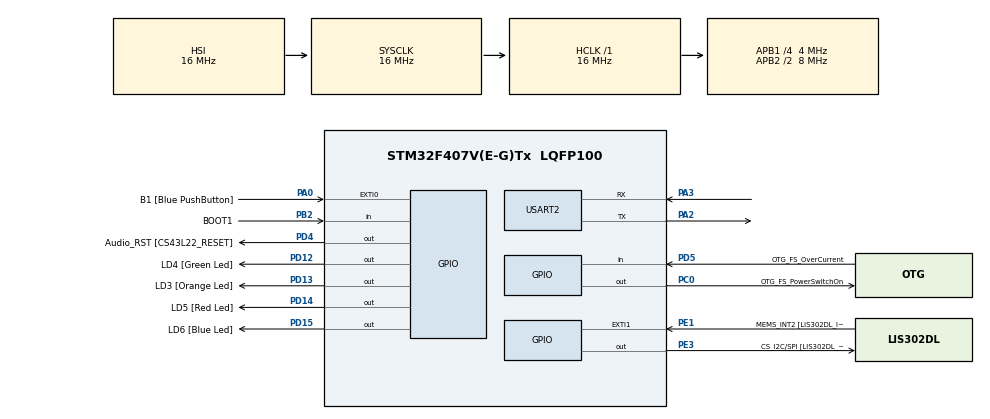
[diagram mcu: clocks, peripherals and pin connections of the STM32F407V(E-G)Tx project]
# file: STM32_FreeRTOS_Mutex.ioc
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FREERTOS.Tasks01=defaultTask,24,128,StartDefaultTask,Default,NULL,Dynamic,NULL,NULL
Mcu.Family=STM32F4
Mcu.Name=STM32F407V(E-G)Tx
Mcu.Package=LQFP100
NVIC.EXTI0_IRQn=true\:6\:0\:true\:false\:true\:true\:true\:true\:true
NVIC.PriorityGroup=NVIC_PRIORITYGROUP_4
NVIC.TIM4_IRQn=true\:0\:0\:false\:false\:true\:false\:false\:true\:true
NVIC.TimeBase=TIM4_IRQn
NVIC.TimeBaseIP=TIM4
PA0-WKUP.GPIO_Label=B1 [Blue PushButton]
PA0-WKUP.GPIO_ModeDefaultEXTI=GPIO_MODE_IT_FALLING
PA0-WKUP.Signal=GPXTI0
PA10.GPIO_Label=OTG_FS_ID
PA10.GPIO_Mode=GPIO_MODE_AF_PP
PA10.GPIO_PuPd=GPIO_NOPULL
PA10.GPIO_Speed=GPIO_SPEED_FREQ_LOW
PA10.Signal=USB_OTG_FS_ID
PA11.GPIO_Label=OTG_FS_DM
PA11.GPIO_Mode=GPIO_MODE_AF_PP
PA11.GPIO_PuPd=GPIO_NOPULL
PA11.GPIO_Speed=GPIO_SPEED_FREQ_LOW
PA11.Signal=USB_OTG_FS_DM
PA12.GPIO_Label=OTG_FS_DP
PA12.GPIO_Mode=GPIO_MODE_AF_PP
PA12.GPIO_PuPd=GPIO_NOPULL
PA12.GPIO_Speed=GPIO_SPEED_FREQ_LOW
PA12.Signal=USB_OTG_FS_DP
PA13.GPIO_Label=SWDIO
PA13.Signal=SYS_JTMS-SWDIO
PA14.GPIO_Label=SWCLK
PA14.Signal=SYS_JTCK-SWCLK
PA2.Mode=Asynchronous
PA2.Signal=USART2_TX
PA3.Mode=Asynchronous
PA3.Signal=USART2_RX
PA4.GPIO_Label=I2S3_WS [CS43L22_LRCK]
PA4.GPIO_Mode=GPIO_MODE_AF_PP
PA4.GPIO_PuPd=GPIO_NOPULL
PA4.GPIO_Speed=GPIO_SPEED_FREQ_LOW
PA4.Signal=I2S3_WS
PA5.GPIO_Label=SPI1_SCK [LIS302DL_SCL/SPC]
PA5.GPIO_Mode=GPIO_MODE_AF_PP
PA5.GPIO_PuPd=GPIO_NOPULL
PA5.GPIO_Speed=GPIO_SPEED_FREQ_LOW
PA5.Signal=SPI1_SCK
PA6.GPIO_Label=SPI1_MISO [LIS302DL_SDO]
PA6.GPIO_Mode=GPIO_MODE_AF_PP
PA6.GPIO_PuPd=GPIO_NOPULL
PA6.GPIO_Speed=GPIO_SPEED_FREQ_LOW
PA6.Signal=SPI1_MISO
PA7.GPIO_Label=SPI1_MOSI [LIS302DL_SDA/SDI/SDO]
PA7.GPIO_Mode=GPIO_MODE_AF_PP
PA7.GPIO_PuPd=GPIO_NOPULL
PA7.GPIO_Speed=GPIO_SPEED_FREQ_LOW
PA7.Signal=SPI1_MOSI
PA9.GPIO_Label=VBUS_FS
PA9.GPIO_Mode=GPIO_MODE_INPUT
PA9.GPIO_PuPd=GPIO_NOPULL
PA9.Signal=USB_OTG_FS_VBUS
PB10.GPIO_Label=CLK_IN [MP45DT02_CLK]
PB10.GPIO_Mode=GPIO_MODE_AF_PP
PB10.GPIO_PuPd=GPIO_NOPULL
PB10.GPIO_Speed=GPIO_SPEED_FREQ_LOW
PB10.Signal=I2S2_CK
PB2.GPIO_Label=BOOT1
PB2.GPIO_Mode=GPIO_MODE_INPUT
PB2.GPIO_PuPd=GPIO_NOPULL
PB2.Signal=GPIO_Input
PB3.GPIO_Label=SWO
PB3.Signal=SYS_JTDO-SWO
PB6.GPIO_Label=Audio_SCL [CS43L22_SCL]
PB6.GPIO_Mode=GPIO_MODE_AF_OD
PB6.GPIO_PuPd=GPIO_NOPULL
PB6.GPIO_Speed=GPIO_SPEED_FREQ_LOW
PB6.Signal=I2C1_SCL
PB9.GPIO_Label=Audio_SDA [CS43L22_SDA]
PB9.GPIO_Mode=GPIO_MODE_AF_OD
PB9.GPIO_PuPd=GPIO_NOPULL
PB9.GPIO_Speed=GPIO_SPEED_FREQ_LOW
PB9.Signal=I2C1_SDA
PC0.GPIO_Label=OTG_FS_PowerSwitchOn
PC0.GPIO_PuPd=GPIO_NOPULL
PC0.GPIO_Speed=GPIO_SPEED_FREQ_LOW
PC0.PinState=GPIO_PIN_SET
PC0.Signal=GPIO_Output
PC10.GPIO_Label=I2S3_SCK [CS43L22_SCLK]
PC10.GPIO_Mode=GPIO_MODE_AF_PP
PC10.GPIO_PuPd=GPIO_NOPULL
PC10.GPIO_Speed=GPIO_SPEED_FREQ_LOW
PC10.Signal=I2S3_CK
PC12.GPIO_Label=I2S3_SD [CS43L22_SDIN]
PC12.GPIO_Mode=GPIO_MODE_AF_PP
PC12.GPIO_PuPd=GPIO_NOPULL
PC12.GPIO_Speed=GPIO_SPEED_FREQ_LOW
PC12.Signal=I2S3_SD
PC14-OSC32_IN.GPIO_Label=PC14-OSC32_IN
PC14-OSC32_IN.Signal=RCC_OSC32_IN
PC15-OSC32_OUT.GPIO_Label=PC15-OSC32_OUT
PC15-OSC32_OUT.Signal=RCC_OSC32_OUT
PC3.GPIO_Label=PDM_OUT [MP45DT02_DOUT]
PC3.GPIO_Mode=GPIO_MODE_AF_PP
PC3.GPIO_PuPd=GPIO_NOPULL
PC3.GPIO_Speed=GPIO_SPEED_FREQ_LOW
PC3.Signal=I2S2_SD
PC7.GPIO_Label=I2S3_MCK [CS43L22_MCLK]
PC7.GPIO_Mode=GPIO_MODE_AF_PP
PC7.GPIO_PuPd=GPIO_NOPULL
PC7.GPIO_Speed=GPIO_SPEED_FREQ_LOW
PC7.Signal=I2S3_MCK
PD12.GPIO_Label=LD4 [Green Led]
PD12.GPIO_PuPd=GPIO_NOPULL
PD12.GPIO_Speed=GPIO_SPEED_FREQ_LOW
PD12.Signal=GPIO_Output
PD13.GPIO_Label=LD3 [Orange Led]
PD13.GPIO_PuPd=GPIO_NOPULL
PD13.GPIO_Speed=GPIO_SPEED_FREQ_LOW
PD13.Signal=GPIO_Output
PD14.GPIO_Label=LD5 [Red Led]
PD14.GPIO_PuPd=GPIO_NOPULL
PD14.GPIO_Speed=GPIO_SPEED_FREQ_LOW
PD14.Signal=GPIO_Output
PD15.GPIO_Label=LD6 [Blue Led]
PD15.GPIO_PuPd=GPIO_NOPULL
PD15.GPIO_Speed=GPIO_SPEED_FREQ_LOW
PD15.Signal=GPIO_Output
PD4.GPIO_Label=Audio_RST [CS43L22_RESET]
PD4.GPIO_PuPd=GPIO_NOPULL
PD4.GPIO_Speed=GPIO_SPEED_FREQ_LOW
PD4.Signal=GPIO_Output
PD5.GPIO_Label=OTG_FS_OverCurrent
PD5.GPIO_Mode=GPIO_MODE_INPUT
PD5.GPIO_PuPd=GPIO_NOPULL
PD5.Signal=GPIO_Input
PE1.GPIO_Label=MEMS_INT2 [LIS302DL_INT2]
PE1.GPIO_ModeDefaultEXTI=GPIO_MODE_EVT_RISING
PE1.GPIO_PuPd=GPIO_NOPULL
PE1.Signal=GPXTI1
PE3.GPIO_Label=CS_I2C/SPI [LIS302DL_CS_I2C/SPI]
PE3.GPIO_PuPd=GPIO_NOPULL
PE3.GPIO_Speed=GPIO_SPEED_FREQ_LOW
PE3.Signal=GPIO_Output
PH0-OSC_IN.GPIO_Label=PH0-OSC_IN
PH0-OSC_IN.Signal=RCC_OSC_IN
PH1-OSC_OUT.GPIO_Label=PH1-OSC_OUT
PH1-OSC_OUT.Signal=RCC_OSC_OUT
ProjectManager.HeapSize=0x200
ProjectManager.StackSize=0x400
ProjectManager.TargetToolchain=STM32CubeIDE
RCC.48MHZClocksFreq_Value=48000000
RCC.AHBFreq_Value=16000000
RCC.APB1CLKDivider=RCC_HCLK_DIV4
RCC.APB1Freq_Value=4000000
RCC.APB1TimFreq_Value=8000000
RCC.APB2CLKDivider=RCC_HCLK_DIV2
RCC.APB2Freq_Value=8000000
RCC.APB2TimFreq_Value=16000000
RCC.CortexFreq_Value=16000000
RCC.HCLKFreq_Value=16000000
RCC.HSE_VALUE=8000000
RCC.HSI_VALUE=16000000
RCC.LSE_VALUE=32768
RCC.PLLM=8
RCC.PLLN=168
RCC.PLLQ=7
RCC.SYSCLKFreq_VALUE=16000000
RCC.VCOOutputFreq_Value=336000000
USART2.VirtualMode=VM_ASYNC
VP_FREERTOS_VS_CMSIS_V2.Mode=CMSIS_V2
VP_SYS_VS_tim4.Mode=TIM4
board=STM32F407G-DISC1

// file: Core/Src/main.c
/* USER CODE BEGIN Header */
/**
  ******************************************************************************
  * @file           : main.c
  * @brief          : Main program body
  ******************************************************************************
  * @attention
  *
  * Copyright (c) 2025 STMicroelectronics.
  * All rights reserved.
  *
  * This software is licensed under terms that can be found in the LICENSE file
  * in the root directory of this software component.
  * If no LICENSE file comes with this software, it is provided AS-IS.
  *
  ******************************************************************************
  */
/* USER CODE END Header */
#include "main.h"
#include "cmsis_os.h"

/* USER CODE BEGIN Includes */
#include <stdio.h>
#include <stdint.h>
#include <FreeRTOS.h>
#include <task.h>
#include <string.h>
#include <stdlib.h>
#include <semphr.h>

/* USER CODE END Includes */

UART_HandleTypeDef huart2;

/* Definitions for defaultTask */
osThreadId_t defaultTaskHandle;
const osThreadAttr_t defaultTask_attributes = {
  .name = "defaultTask",
  .stack_size = 128 * 4,
  .priority = (osPriority_t) osPriorityNormal,
};
/* USER CODE BEGIN PV */
#define DWT_CTRL	(*(volatile uint32_t*)0xE0001000)
#define mainMAX_MSG_LEN		(80)

#define USE_MUTEX			0

/* USER CODE END PV */

void SystemClock_Config(void);
static void MX_GPIO_Init(void);
static void MX_USART2_UART_Init(void);
void StartDefaultTask(void *argument);

/* USER CODE BEGIN 0 */

char usr_msg[250] ={0};

TaskHandle_t xTaskHandle1=NULL;
TaskHandle_t xTaskHandle2=NULL;

//function prototypes
void printmsg(char *msg);

// Task to be created
static void prvPrintTask(void *pvParameters);

static void prvNewPrintString (const portCHAR *pcString);

#ifdef USE_MUTEX

xSemaphoreHandle xMutex;

#endif

/* USER CODE END 0 */

int main(void)
{

  /* USER CODE BEGIN 1 */

	BaseType_t status;

  /* USER CODE END 1 */

  /* MCU Configuration--------------------------------------------------------*/

  /* Reset of all peripherals, Initializes the Flash interface and the Systick. */
  HAL_Init();

  /* Configure the system clock */
  SystemClock_Config();

  /* USER CODE BEGIN SysInit */

  SystemCoreClockUpdate();

  /* USER CODE END SysInit */

  /* Initialize all configured peripherals */
  MX_GPIO_Init();
  MX_USART2_UART_Init();
  /* USER CODE BEGIN 2 */

//  SEGGER_UART_init(250000);

  //Enable the CYCCNT counter
  DWT_CTRL |= (1 << 0);

  sprintf(usr_msg,"Demo of mutual exclusion using Mutex APIs /r/n");
  printmsg(usr_msg);

#ifdef USE_MUTEX
  xMutex = xSemaphoreCreateMutex();
#endif

  srand(567);

#ifdef USE_MUTEX
  if(xMutex != NULL)
  {
#endif

	  status = xTaskCreate(prvPrintTask,"Print 1",240,"Task 1 ********************************\r\n",1,NULL);

	  configASSERT(status = pdPASS);

	  status = xTaskCreate(prvPrintTask,"Print 2",240,"Task 2 -------------------------------\r\n",3,NULL);

	  configASSERT(status = pdPASS);

	  // start the freeRTOS scheduler
	  vTaskStartScheduler();
#ifdef USE_MUTEX
  }
#endif

  /* USER CODE END 2 */

  /* Init scheduler */
  osKernelInitialize();

  /* Create the thread(s) */
  /* creation of defaultTask */
  defaultTaskHandle = osThreadNew(StartDefaultTask, NULL, &defaultTask_attributes);

  /* Start scheduler */
  osKernelStart();

  /* We should never get here as control is now taken by the scheduler */

  /* Infinite loop */
  while (1)
  {

  }
}

void SystemClock_Config(void)
{
  RCC_OscInitTypeDef RCC_OscInitStruct = {0};
  RCC_ClkInitTypeDef RCC_ClkInitStruct = {0};

  /** Configure the main internal regulator output voltage
  */
  __HAL_RCC_PWR_CLK_ENABLE();
  __HAL_PWR_VOLTAGESCALING_CONFIG(PWR_REGULATOR_VOLTAGE_SCALE1);

  /** Initializes the RCC Oscillators according to the specified parameters
  * in the RCC_OscInitTypeDef structure.
  */
  RCC_OscInitStruct.OscillatorType = RCC_OSCILLATORTYPE_HSI;
  RCC_OscInitStruct.HSIState = RCC_HSI_ON;
  RCC_OscInitStruct.HSICalibrationValue = RCC_HSICALIBRATION_DEFAULT;
  RCC_OscInitStruct.PLL.PLLState = RCC_PLL_NONE;
  if (HAL_RCC_OscConfig(&RCC_OscInitStruct) != HAL_OK)
  {
    Error_Handler();
  }

  /** Initializes the CPU, AHB and APB buses clocks
  */
  RCC_ClkInitStruct.ClockType = RCC_CLOCKTYPE_HCLK|RCC_CLOCKTYPE_SYSCLK
                              |RCC_CLOCKTYPE_PCLK1|RCC_CLOCKTYPE_PCLK2;
  RCC_ClkInitStruct.SYSCLKSource = RCC_SYSCLKSOURCE_HSI;
  RCC_ClkInitStruct.AHBCLKDivider = RCC_SYSCLK_DIV1;
  RCC_ClkInitStruct.APB1CLKDivider = RCC_HCLK_DIV4;
  RCC_ClkInitStruct.APB2CLKDivider = RCC_HCLK_DIV2;

  if (HAL_RCC_ClockConfig(&RCC_ClkInitStruct, FLASH_LATENCY_0) != HAL_OK)
  {
    Error_Handler();
  }
}

static void MX_USART2_UART_Init(void)
{

  huart2.Instance = USART2;
  huart2.Init.BaudRate = 115200;
  huart2.Init.WordLength = UART_WORDLENGTH_8B;
  huart2.Init.StopBits = UART_STOPBITS_1;
  huart2.Init.Parity = UART_PARITY_NONE;
  huart2.Init.Mode = UART_MODE_TX_RX;
  huart2.Init.HwFlowCtl = UART_HWCONTROL_NONE;
  huart2.Init.OverSampling = UART_OVERSAMPLING_16;
  if (HAL_UART_Init(&huart2) != HAL_OK)
  {
    Error_Handler();
  }

}

static void MX_GPIO_Init(void)
{
  GPIO_InitTypeDef GPIO_InitStruct = {0};

  /* GPIO Ports Clock Enable */
  __HAL_RCC_GPIOE_CLK_ENABLE();
  __HAL_RCC_GPIOC_CLK_ENABLE();
  __HAL_RCC_GPIOH_CLK_ENABLE();
  __HAL_RCC_GPIOA_CLK_ENABLE();
  __HAL_RCC_GPIOB_CLK_ENABLE();
  __HAL_RCC_GPIOD_CLK_ENABLE();

  /*Configure GPIO pin Output Level */
  HAL_GPIO_WritePin(CS_I2C_SPI_GPIO_Port, CS_I2C_SPI_Pin, GPIO_PIN_RESET);

  /*Configure GPIO pin Output Level */
  HAL_GPIO_WritePin(OTG_FS_PowerSwitchOn_GPIO_Port, OTG_FS_PowerSwitchOn_Pin, GPIO_PIN_SET);

  /*Configure GPIO pin Output Level */
  HAL_GPIO_WritePin(GPIOD, LD4_Pin|LD3_Pin|LD5_Pin|LD6_Pin
                          |Audio_RST_Pin, GPIO_PIN_RESET);

  /*Configure GPIO pin : CS_I2C_SPI_Pin */
  GPIO_InitStruct.Pin = CS_I2C_SPI_Pin;
  GPIO_InitStruct.Mode = GPIO_MODE_OUTPUT_PP;
  GPIO_InitStruct.Pull = GPIO_NOPULL;
  GPIO_InitStruct.Speed = GPIO_SPEED_FREQ_LOW;
  HAL_GPIO_Init(CS_I2C_SPI_GPIO_Port, &GPIO_InitStruct);

  /*Configure GPIO pin : OTG_FS_PowerSwitchOn_Pin */
  GPIO_InitStruct.Pin = OTG_FS_PowerSwitchOn_Pin;
  GPIO_InitStruct.Mode = GPIO_MODE_OUTPUT_PP;
  GPIO_InitStruct.Pull = GPIO_NOPULL;
  GPIO_InitStruct.Speed = GPIO_SPEED_FREQ_LOW;
  HAL_GPIO_Init(OTG_FS_PowerSwitchOn_GPIO_Port, &GPIO_InitStruct);

  /*Configure GPIO pin : PDM_OUT_Pin */
  GPIO_InitStruct.Pin = PDM_OUT_Pin;
  GPIO_InitStruct.Mode = GPIO_MODE_AF_PP;
  GPIO_InitStruct.Pull = GPIO_NOPULL;
  GPIO_InitStruct.Speed = GPIO_SPEED_FREQ_LOW;
  GPIO_InitStruct.Alternate = GPIO_AF5_SPI2;
  HAL_GPIO_Init(PDM_OUT_GPIO_Port, &GPIO_InitStruct);

  /*Configure GPIO pin : B1_Pin */
  GPIO_InitStruct.Pin = B1_Pin;
  GPIO_InitStruct.Mode = GPIO_MODE_IT_FALLING;
  GPIO_InitStruct.Pull = GPIO_NOPULL;
  HAL_GPIO_Init(B1_GPIO_Port, &GPIO_InitStruct);

  /*Configure GPIO pin : I2S3_WS_Pin */
  GPIO_InitStruct.Pin = I2S3_WS_Pin;
  GPIO_InitStruct.Mode = GPIO_MODE_AF_PP;
  GPIO_InitStruct.Pull = GPIO_NOPULL;
  GPIO_InitStruct.Speed = GPIO_SPEED_FREQ_LOW;
  GPIO_InitStruct.Alternate = GPIO_AF6_SPI3;
  HAL_GPIO_Init(I2S3_WS_GPIO_Port, &GPIO_InitStruct);

  /*Configure GPIO pins : SPI1_SCK_Pin SPI1_MISO_Pin SPI1_MOSI_Pin */
  GPIO_InitStruct.Pin = SPI1_SCK_Pin|SPI1_MISO_Pin|SPI1_MOSI_Pin;
  GPIO_InitStruct.Mode = GPIO_MODE_AF_PP;
  GPIO_InitStruct.Pull = GPIO_NOPULL;
  GPIO_InitStruct.Speed = GPIO_SPEED_FREQ_LOW;
  GPIO_InitStruct.Alternate = GPIO_AF5_SPI1;
  HAL_GPIO_Init(GPIOA, &GPIO_InitStruct);

  /*Configure GPIO pin : BOOT1_Pin */
  GPIO_InitStruct.Pin = BOOT1_Pin;
  GPIO_InitStruct.Mode = GPIO_MODE_INPUT;
  GPIO_InitStruct.Pull = GPIO_NOPULL;
  HAL_GPIO_Init(BOOT1_GPIO_Port, &GPIO_InitStruct);

  /*Configure GPIO pin : CLK_IN_Pin */
  GPIO_InitStruct.Pin = CLK_IN_Pin;
  GPIO_InitStruct.Mode = GPIO_MODE_AF_PP;
  GPIO_InitStruct.Pull = GPIO_NOPULL;
  GPIO_InitStruct.Speed = GPIO_SPEED_FREQ_LOW;
  GPIO_InitStruct.Alternate = GPIO_AF5_SPI2;
  HAL_GPIO_Init(CLK_IN_GPIO_Port, &GPIO_InitStruct);

  /*Configure GPIO pins : LD4_Pin LD3_Pin LD5_Pin LD6_Pin
                           Audio_RST_Pin */
  GPIO_InitStruct.Pin = LD4_Pin|LD3_Pin|LD5_Pin|LD6_Pin
                          |Audio_RST_Pin;
  GPIO_InitStruct.Mode = GPIO_MODE_OUTPUT_PP;
  GPIO_InitStruct.Pull = GPIO_NOPULL;
  GPIO_InitStruct.Speed = GPIO_SPEED_FREQ_LOW;
  HAL_GPIO_Init(GPIOD, &GPIO_InitStruct);

  /*Configure GPIO pins : I2S3_MCK_Pin I2S3_SCK_Pin I2S3_SD_Pin */
  GPIO_InitStruct.Pin = I2S3_MCK_Pin|I2S3_SCK_Pin|I2S3_SD_Pin;
  GPIO_InitStruct.Mode = GPIO_MODE_AF_PP;
  GPIO_InitStruct.Pull = GPIO_NOPULL;
  GPIO_InitStruct.Speed = GPIO_SPEED_FREQ_LOW;
  GPIO_InitStruct.Alternate = GPIO_AF6_SPI3;
  HAL_GPIO_Init(GPIOC, &GPIO_InitStruct);

  /*Configure GPIO pin : VBUS_FS_Pin */
  GPIO_InitStruct.Pin = VBUS_FS_Pin;
  GPIO_InitStruct.Mode = GPIO_MODE_INPUT;
  GPIO_InitStruct.Pull = GPIO_NOPULL;
  HAL_GPIO_Init(VBUS_FS_GPIO_Port, &GPIO_InitStruct);

  /*Configure GPIO pins : OTG_FS_ID_Pin OTG_FS_DM_Pin OTG_FS_DP_Pin */
  GPIO_InitStruct.Pin = OTG_FS_ID_Pin|OTG_FS_DM_Pin|OTG_FS_DP_Pin;
  GPIO_InitStruct.Mode = GPIO_MODE_AF_PP;
  GPIO_InitStruct.Pull = GPIO_NOPULL;
  GPIO_InitStruct.Speed = GPIO_SPEED_FREQ_LOW;
  GPIO_InitStruct.Alternate = GPIO_AF10_OTG_FS;
  HAL_GPIO_Init(GPIOA, &GPIO_InitStruct);

  /*Configure GPIO pin : OTG_FS_OverCurrent_Pin */
  GPIO_InitStruct.Pin = OTG_FS_OverCurrent_Pin;
  GPIO_InitStruct.Mode = GPIO_MODE_INPUT;
  GPIO_InitStruct.Pull = GPIO_NOPULL;
  HAL_GPIO_Init(OTG_FS_OverCurrent_GPIO_Port, &GPIO_InitStruct);

  /*Configure GPIO pins : Audio_SCL_Pin Audio_SDA_Pin */
  GPIO_InitStruct.Pin = Audio_SCL_Pin|Audio_SDA_Pin;
  GPIO_InitStruct.Mode = GPIO_MODE_AF_OD;
  GPIO_InitStruct.Pull = GPIO_NOPULL;
  GPIO_InitStruct.Speed = GPIO_SPEED_FREQ_LOW;
  GPIO_InitStruct.Alternate = GPIO_AF4_I2C1;
  HAL_GPIO_Init(GPIOB, &GPIO_InitStruct);

  /*Configure GPIO pin : MEMS_INT2_Pin */
  GPIO_InitStruct.Pin = MEMS_INT2_Pin;
  GPIO_InitStruct.Mode = GPIO_MODE_EVT_RISING;
  GPIO_InitStruct.Pull = GPIO_NOPULL;
  HAL_GPIO_Init(MEMS_INT2_GPIO_Port, &GPIO_InitStruct);

  /* EXTI interrupt init*/
  HAL_NVIC_SetPriority(EXTI0_IRQn, 6, 0);
  HAL_NVIC_EnableIRQ(EXTI0_IRQn);

}

/* USER CODE BEGIN 4 */

static void prvNewPrintString( const portCHAR *pcString )
{
static char cBuffer[ mainMAX_MSG_LEN ];

#ifdef USE_MUTEX
	/* The semaphore is created before the scheduler is started so already
	exists by the time this task executes.

	Attempt to take the semaphore, blocking indefinitely if the mutex is not
	available immediately.  The call to xSemaphoreTake() will only return when
	the semaphore has been successfully obtained so there is no need to check the
	return value.  If any other delay period was used then the code must check
	that xSemaphoreTake() returns pdTRUE before accessing the resource (in this
	case standard out. */
	xSemaphoreTake( xMutex, portMAX_DELAY );
	{
#endif
		/* The following line will only execute once the semaphore has been
		successfully obtained - so standard out can be accessed freely. */
		sprintf( cBuffer, "%s", pcString );
		printmsg(cBuffer);
#ifdef USE_MUTEX
	}
	xSemaphoreGive( xMutex );
#endif

}
/*-----------------------------------------------------------*/

static void prvPrintTask( void *pvParameters )
{
char *pcStringToPrint;

	/* Two instances of this task are created so the string the task will send
	to prvNewPrintString() is passed in the task parameter.  Cast this to the
	required type. */
	pcStringToPrint = ( char * ) pvParameters;

	for( ;; )
	{
		/* Print out the string using the newly defined function. */
		prvNewPrintString( pcStringToPrint );

		/* Wait a pseudo random time.  Note that rand() is not necessarily
		re-entrant, but in this case it does not really matter as the code does
		not care what value is returned.  In a more secure application a version
		of rand() that is known to be re-entrant should be used - or calls to
		rand() should be protected using a critical section. */
		vTaskDelay( rand() & 0XF );
	}
}

void printmsg(char *msg)
{

	while(__HAL_UART_GET_FLAG(&huart2,UART_FLAG_TXE) != SET);
	HAL_UART_Transmit(&huart2, (uint8_t*)msg, strlen(msg), HAL_MAX_DELAY);

	while(__HAL_UART_GET_FLAG(&huart2,UART_FLAG_TC) != SET);
}

/* USER CODE END 4 */

void StartDefaultTask(void *argument)
{
  for(;;)
  {
    osDelay(1);
  }
}

void HAL_TIM_PeriodElapsedCallback(TIM_HandleTypeDef *htim)
{
  if (htim->Instance == TIM4)
  {
    HAL_IncTick();
  }
}

void Error_Handler(void)
{
  __disable_irq();
  while (1)
  {
  }
}
